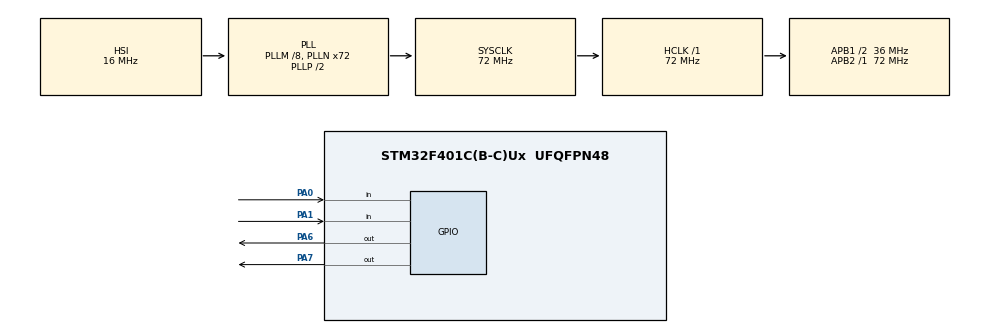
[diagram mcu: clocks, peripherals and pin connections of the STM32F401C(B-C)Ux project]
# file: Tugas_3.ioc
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Mcu.Family=STM32F4
Mcu.Name=STM32F401C(B-C)Ux
Mcu.Package=UFQFPN48
NVIC.PriorityGroup=NVIC_PRIORITYGROUP_4
NVIC.TIM2_IRQn=true\:0\:0\:false\:false\:true\:true\:true\:true
NVIC.TIM3_IRQn=true\:0\:0\:false\:false\:true\:true\:true\:true
PA0-WKUP.Signal=GPIO_Input
PA1.Signal=GPIO_Input
PA13.Mode=Serial_Wire
PA13.Signal=SYS_JTMS-SWDIO
PA14.Mode=Serial_Wire
PA14.Signal=SYS_JTCK-SWCLK
PA6.Signal=GPIO_Output
PA7.Signal=GPIO_Output
PH0\ -\ OSC_IN.Mode=HSE-External-Oscillator
PH0\ -\ OSC_IN.Signal=RCC_OSC_IN
PH1\ -\ OSC_OUT.Mode=HSE-External-Oscillator
PH1\ -\ OSC_OUT.Signal=RCC_OSC_OUT
ProjectManager.HeapSize=0x200
ProjectManager.StackSize=0x400
ProjectManager.TargetToolchain=STM32CubeIDE
RCC.48MHZClocksFreq_Value=36000000
RCC.AHBFreq_Value=72000000
RCC.APB1CLKDivider=RCC_HCLK_DIV2
RCC.APB1Freq_Value=36000000
RCC.APB1TimFreq_Value=72000000
RCC.APB2Freq_Value=72000000
RCC.APB2TimFreq_Value=72000000
RCC.CortexFreq_Value=72000000
RCC.HCLKFreq_Value=72000000
RCC.HSE_VALUE=25000000
RCC.HSI_VALUE=16000000
RCC.LSE_VALUE=32768
RCC.PLLM=8
RCC.PLLN=72
RCC.SYSCLKFreq_VALUE=72000000
RCC.SYSCLKSource=RCC_SYSCLKSOURCE_PLLCLK
RCC.VCOOutputFreq_Value=144000000
TIM2.Period=5000
TIM2.Prescaler=7200-1
TIM3.Period=10000
TIM3.Prescaler=7200-1
VP_TIM2_VS_ClockSourceINT.Mode=Internal
VP_TIM3_VS_ClockSourceINT.Mode=Internal
board=custom

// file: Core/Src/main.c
/* USER CODE BEGIN Header */
/**
  ******************************************************************************
  * @file           : main.c
  * @brief          : Main program body - Dual Button LED Control
  ******************************************************************************
  * @attention
  *
  * Copyright (c) 2025 STMicroelectronics.
  * All rights reserved.
  *
  * This software is licensed under terms that can be found in the LICENSE file
  * in the root directory of this software component.
  * If no LICENSE file comes with this software, it is provided AS-IS.
  *
  ******************************************************************************
  */
/* USER CODE END Header */
#include "main.h"

/* USER CODE BEGIN Includes */
#define LED_BUILTIN_PIN    GPIO_PIN_13
#define LED_BUILTIN_PORT   GPIOC
#define LED1_PIN           GPIO_PIN_7
#define LED1_PORT          GPIOA
#define LED2_PIN           GPIO_PIN_6
#define LED2_PORT          GPIOA
#define BTN1_PIN           GPIO_PIN_1  // Tombol untuk LED1
#define BTN1_PORT          GPIOA
#define BTN2_PIN           GPIO_PIN_0  // Tombol untuk LED2
#define BTN2_PORT          GPIOA
/* USER CODE END Includes */

TIM_HandleTypeDef htim2;
TIM_HandleTypeDef htim3;

/* USER CODE BEGIN PV */
volatile uint32_t lastDebounceTimeBtn1 = 0;
volatile uint32_t lastDebounceTimeBtn2 = 0;
const uint32_t debounceDelay = 200; // ms

volatile uint8_t led1_mode = 0; // Mode untuk LED1: 0=off, 1=slow blink, 2=fast blink, 3=always on
volatile uint8_t led2_mode = 0; // Mode untuk LED2: 0=off, 1=slow blink, 2=fast blink, 3=always on

volatile uint8_t led1_timer_active = 0; // Flag untuk mengaktifkan timer LED1
volatile uint8_t led2_timer_active = 0; // Flag untuk mengaktifkan timer LED2
/* USER CODE END PV */

void SystemClock_Config(void);
static void MX_GPIO_Init(void);
static void MX_TIM2_Init(void);
static void MX_TIM3_Init(void);
/* USER CODE BEGIN PFP */

void HAL_GPIO_EXTI_Callback(uint16_t GPIO_Pin)
{
    uint32_t currentTime = HAL_GetTick();

    if(GPIO_Pin == BTN1_PIN) // Tombol 1: mengatur LED1
    {
        if((currentTime - lastDebounceTimeBtn1) > debounceDelay)
        {
            led1_mode = (led1_mode + 1) % 3; // 0->1->2->3->0 (off, slow, fast, always on)
            lastDebounceTimeBtn1 = currentTime;

            // Reset LED1 state

            // Atur timer berdasarkan mode
            switch(led1_mode)
            {
                case 0: // Off
                    led1_timer_active = 0;
                    HAL_GPIO_WritePin(LED1_PORT, LED1_PIN, GPIO_PIN_RESET);
                    break;
                case 1: // Slow blink (1 Hz)
                	HAL_GPIO_WritePin(LED1_PORT, LED1_PIN, GPIO_PIN_SET);
                    led1_timer_active = 1;
                    break;
                case 2: // Fast blink (2 Hz)
                	HAL_GPIO_WritePin(LED1_PORT, LED1_PIN, GPIO_PIN_SET);
                    led1_timer_active = 1;
                    break;

            }
        }
    }

    if(GPIO_Pin == BTN2_PIN) // Tombol 2: mengatur LED2
    {
        if((currentTime - lastDebounceTimeBtn2) > debounceDelay)
        {
            led2_mode = (led2_mode + 1) % 3; // 0->1->2->3->0 (off, slow, fast, always on)
            lastDebounceTimeBtn2 = currentTime;

            // Reset LED2 state

            // Atur timer berdasarkan mode
            switch(led2_mode)
            {
                case 0: // Off
                    led2_timer_active = 0;
                    HAL_GPIO_WritePin(LED2_PORT, LED2_PIN, GPIO_PIN_RESET);
                    break;
                case 1: // Slow blink (1 Hz)
                	HAL_GPIO_WritePin(LED2_PORT, LED2_PIN, GPIO_PIN_SET);
                    led2_timer_active = 1;
                    break;
                case 2: // Fast blink (2 Hz)
                	HAL_GPIO_WritePin(LED2_PORT, LED2_PIN, GPIO_PIN_SET);
                    led2_timer_active = 1;
                    break;

            }
        }
    }
}

// Callback timer interrupt
void HAL_TIM_PeriodElapsedCallback(TIM_HandleTypeDef *htim)
{
    if(htim->Instance == TIM2 && led1_mode == 1 ) // Timer untuk LED1
    {
        updateLED1();
    }

    if(htim->Instance == TIM3 && led1_mode == 2) // Timer untuk LED1
    {
        updateLED1();
    }

    if(htim->Instance == TIM2 && led2_mode == 1) // Timer untuk LED1
        {
            updateLED2();
        }

    if(htim->Instance == TIM3 && led2_mode == 2) // Timer untuk LED1
        {
            updateLED2();
        }
}

/* USER CODE END PFP */

int main(void)
{

  /* MCU Configuration--------------------------------------------------------*/

  /* Reset of all peripherals, Initializes the Flash interface and the Systick. */
  HAL_Init();

  /* Configure the system clock */
  SystemClock_Config();

  /* Initialize all configured peripherals */
  MX_GPIO_Init();
  MX_TIM2_Init();
  MX_TIM3_Init();
  /* USER CODE BEGIN 2 */
  HAL_TIM_Base_Start_IT(&htim2); // Timer untuk LED1
  HAL_TIM_Base_Start_IT(&htim3); // Timer untuk LED2
  /* USER CODE END 2 */

  /* Infinite loop */
  while (1)
  {

    /* USER CODE BEGIN 3 */
    // Loop utama kosong karena LED dikontrol dalam callback timer dan interrupt
  }
  /* USER CODE END 3 */
}

void SystemClock_Config(void)
{
  RCC_OscInitTypeDef RCC_OscInitStruct = {0};
  RCC_ClkInitTypeDef RCC_ClkInitStruct = {0};

  /** Configure the main internal regulator output voltage
  */
  __HAL_RCC_PWR_CLK_ENABLE();
  __HAL_PWR_VOLTAGESCALING_CONFIG(PWR_REGULATOR_VOLTAGE_SCALE2);

  /** Initializes the RCC Oscillators according to the specified parameters
  * in the RCC_OscInitTypeDef structure.
  */
  RCC_OscInitStruct.OscillatorType = RCC_OSCILLATORTYPE_HSI;
  RCC_OscInitStruct.HSIState = RCC_HSI_ON;
  RCC_OscInitStruct.HSICalibrationValue = RCC_HSICALIBRATION_DEFAULT;
  RCC_OscInitStruct.PLL.PLLState = RCC_PLL_ON;
  RCC_OscInitStruct.PLL.PLLSource = RCC_PLLSOURCE_HSI;
  RCC_OscInitStruct.PLL.PLLM = 8;
  RCC_OscInitStruct.PLL.PLLN = 72;
  RCC_OscInitStruct.PLL.PLLP = RCC_PLLP_DIV2;
  RCC_OscInitStruct.PLL.PLLQ = 4;
  if (HAL_RCC_OscConfig(&RCC_OscInitStruct) != HAL_OK)
  {
    Error_Handler();
  }

  /** Initializes the CPU, AHB and APB buses clocks
  */
  RCC_ClkInitStruct.ClockType = RCC_CLOCKTYPE_HCLK|RCC_CLOCKTYPE_SYSCLK
                              |RCC_CLOCKTYPE_PCLK1|RCC_CLOCKTYPE_PCLK2;
  RCC_ClkInitStruct.SYSCLKSource = RCC_SYSCLKSOURCE_PLLCLK;
  RCC_ClkInitStruct.AHBCLKDivider = RCC_SYSCLK_DIV1;
  RCC_ClkInitStruct.APB1CLKDivider = RCC_HCLK_DIV2;
  RCC_ClkInitStruct.APB2CLKDivider = RCC_HCLK_DIV1;

  if (HAL_RCC_ClockConfig(&RCC_ClkInitStruct, FLASH_LATENCY_2) != HAL_OK)
  {
    Error_Handler();
  }
}

static void MX_TIM2_Init(void)
{

  TIM_ClockConfigTypeDef sClockSourceConfig = {0};
  TIM_MasterConfigTypeDef sMasterConfig = {0};

  htim2.Instance = TIM2;
  htim2.Init.Prescaler = 7200-1;
  htim2.Init.CounterMode = TIM_COUNTERMODE_UP;
  htim2.Init.Period = 5000;
  htim2.Init.ClockDivision = TIM_CLOCKDIVISION_DIV1;
  htim2.Init.AutoReloadPreload = TIM_AUTORELOAD_PRELOAD_DISABLE;
  if (HAL_TIM_Base_Init(&htim2) != HAL_OK)
  {
    Error_Handler();
  }
  sClockSourceConfig.ClockSource = TIM_CLOCKSOURCE_INTERNAL;
  if (HAL_TIM_ConfigClockSource(&htim2, &sClockSourceConfig) != HAL_OK)
  {
    Error_Handler();
  }
  sMasterConfig.MasterOutputTrigger = TIM_TRGO_RESET;
  sMasterConfig.MasterSlaveMode = TIM_MASTERSLAVEMODE_DISABLE;
  if (HAL_TIMEx_MasterConfigSynchronization(&htim2, &sMasterConfig) != HAL_OK)
  {
    Error_Handler();
  }

}

static void MX_TIM3_Init(void)
{

  TIM_ClockConfigTypeDef sClockSourceConfig = {0};
  TIM_MasterConfigTypeDef sMasterConfig = {0};

  htim3.Instance = TIM3;
  htim3.Init.Prescaler = 7200-1;
  htim3.Init.CounterMode = TIM_COUNTERMODE_UP;
  htim3.Init.Period = 10000;
  htim3.Init.ClockDivision = TIM_CLOCKDIVISION_DIV1;
  htim3.Init.AutoReloadPreload = TIM_AUTORELOAD_PRELOAD_DISABLE;
  if (HAL_TIM_Base_Init(&htim3) != HAL_OK)
  {
    Error_Handler();
  }
  sClockSourceConfig.ClockSource = TIM_CLOCKSOURCE_INTERNAL;
  if (HAL_TIM_ConfigClockSource(&htim3, &sClockSourceConfig) != HAL_OK)
  {
    Error_Handler();
  }
  sMasterConfig.MasterOutputTrigger = TIM_TRGO_RESET;
  sMasterConfig.MasterSlaveMode = TIM_MASTERSLAVEMODE_DISABLE;
  if (HAL_TIMEx_MasterConfigSynchronization(&htim3, &sMasterConfig) != HAL_OK)
  {
    Error_Handler();
  }

}

static void MX_GPIO_Init(void)
{
  GPIO_InitTypeDef GPIO_InitStruct = {0};

  /* GPIO Ports Clock Enable */
  __HAL_RCC_GPIOH_CLK_ENABLE();
  __HAL_RCC_GPIOA_CLK_ENABLE();

  /*Configure GPIO pin Output Level */
  HAL_GPIO_WritePin(GPIOA, GPIO_PIN_6|GPIO_PIN_7, GPIO_PIN_RESET);

  /*Configure GPIO pins : PA0 PA1 */
  GPIO_InitStruct.Pin = GPIO_PIN_0|GPIO_PIN_1;
  GPIO_InitStruct.Mode = GPIO_MODE_INPUT;
  GPIO_InitStruct.Pull = GPIO_NOPULL;
  HAL_GPIO_Init(GPIOA, &GPIO_InitStruct);

  /*Configure GPIO pins : PA6 PA7 */
  GPIO_InitStruct.Pin = GPIO_PIN_6|GPIO_PIN_7;
  GPIO_InitStruct.Mode = GPIO_MODE_OUTPUT_PP;
  GPIO_InitStruct.Pull = GPIO_NOPULL;
  GPIO_InitStruct.Speed = GPIO_SPEED_FREQ_LOW;
  HAL_GPIO_Init(GPIOA, &GPIO_InitStruct);

}

void Error_Handler(void)
{
  __disable_irq();
  while (1)
  {
  }
}
